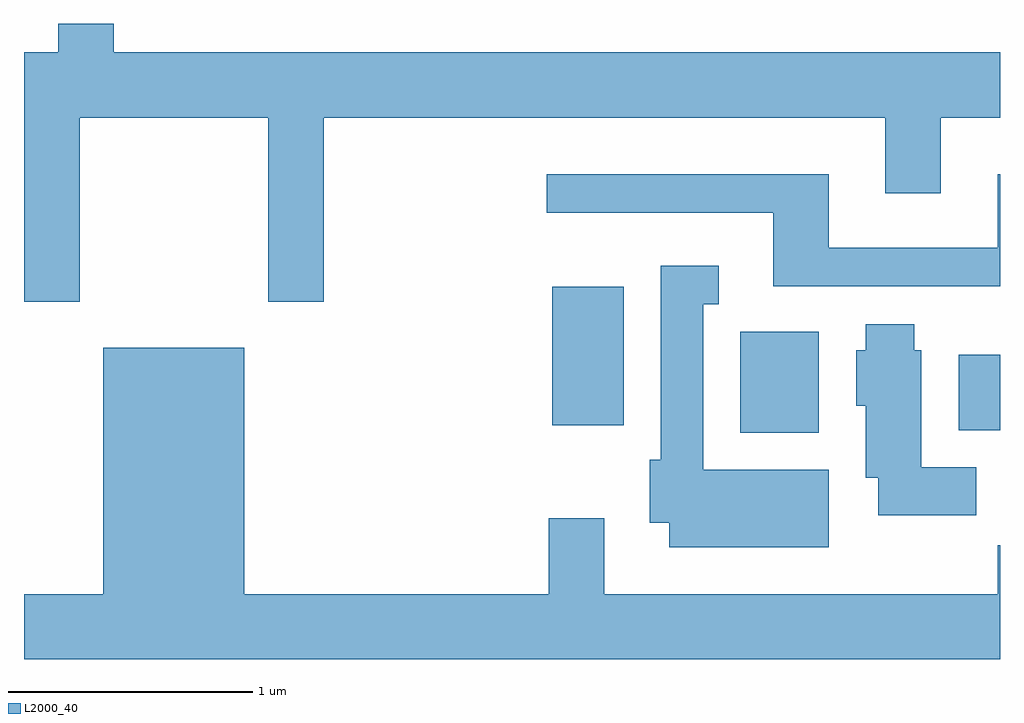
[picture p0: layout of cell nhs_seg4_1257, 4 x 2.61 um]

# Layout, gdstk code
import gdstk
lib = gdstk.Library(unit=1e-6, precision=1e-09)
def R(c, l, rs):  # rectangles x0, y0, x1, y1
    for r in rs: c.add(gdstk.rectangle(r[:2], r[2:], *l))
def P(c, l, *ps):  # polygons
    for p in ps: c.add(gdstk.Polygon(p, *l))
L2000_40 = (2000, 40)

nhs_seg4_1257 = lib.new_cell('nhs_seg4_1257')
R(nhs_seg4_1257, L2000_40, [(224.546,1322.306,224.869,1322.719), (225.441,1322.316,225.611,1322.624), (223.776,1322.336,224.069,1322.904)])
P(nhs_seg4_1257, L2000_40, [(221.839,1323.596),(222.611,1323.596),(222.611,1322.841),(222.839,1322.841),(222.839,1323.596),(225.141,1323.596),(225.141,1323.286),(225.369,1323.286),(225.369,1323.596),(225.611,1323.596),(225.611,1323.864),(221.979,1323.864),(221.979,1323.982),(221.751,1323.982),(221.751,1323.864),(221.611,1323.864),(221.611,1322.841),(221.839,1322.841)],
  [(225.611,1323.364),(225.601,1323.364),(225.601,1323.064),(224.909,1323.064),(224.909,1323.364),(223.753,1323.364),(223.753,1323.206),(224.681,1323.206),(224.681,1322.906),(225.611,1322.906)],
  [(224.909,1322.154),(224.394,1322.154),(224.394,1322.831),(224.458,1322.831),(224.458,1322.989),(224.221,1322.989),(224.221,1322.194),(224.176,1322.194),(224.176,1321.936),(224.256,1321.936),(224.256,1321.836),(224.909,1321.836)],
  [(225.514,1322.164),(225.289,1322.164),(225.289,1322.644),(225.259,1322.644),(225.259,1322.749),(225.061,1322.749),(225.061,1322.644),(225.021,1322.644),(225.021,1322.416),(225.061,1322.416),(225.061,1322.121),(225.111,1322.121),(225.111,1321.966),(225.514,1321.966)],
  [(225.611,1321.844),(225.601,1321.844),(225.601,1321.644),(223.989,1321.644),(223.989,1321.954),(223.761,1321.954),(223.761,1321.644),(222.514,1321.644),(222.514,1322.654),(221.936,1322.654),(221.936,1321.644),(221.611,1321.644),(221.611,1321.376),(225.611,1321.376)])

lib.write_gds('nhs_seg4_1257.gds')
